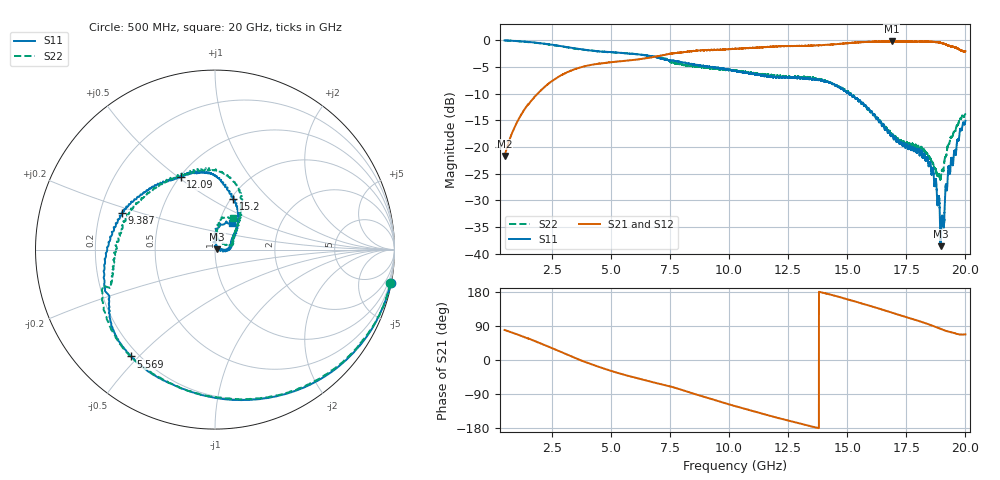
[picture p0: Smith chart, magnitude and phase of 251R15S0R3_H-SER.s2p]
!{251R15S0R3}
!Johanson Technology Inc.
!www.johansontechnology.com
!Test Board Conditions:
!Substrate Type  RO4350B
!Substrate Thickness  20 mil
!Substrate Dk  3.66
!TL Type: GCPW
!TL Trace Width  34 mil
!TL Gap  10 mil
!Electrode orientation  Horizontal
!DUT TOPOLOGY	SERIES
!Mounting Pad LxW  26x52 mil
! Created Thu Mar 12 16:25:58 2020
# mhz S ma R 50
! 2 Port Network Data from SP1.SP block
! freq  magS11  angS11  magS21  angS21  magS12  angS12  magS22  angS22
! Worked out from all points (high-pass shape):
!   19501 points, 500 MHz to 20 GHz, reference 50 ohm
!   highest |S21| = -0.17 dB at 16.88 GHz (marker M1); lowest = -21.7 dB at 500 MHz (marker M2)
!   |S21| within 3 dB of the highest: 6.732103 GHz to 6.733521 GHz (1.418 MHz wide, 0.0211 % of centre); 6.742 GHz to end of sweep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
!   lowest |S11| = -38.6 dB at 18.95 GHz (marker M3), VSWR 1.02, Z = 51.2 + j0.267 ohm
!   |S11| at or under -10 dB: 15.07493 GHz to 15.07509 GHz (160.4 kHz wide, 0.00106 % of centre); 15.08 GHz to end of sweep
!   |S22| runs from -26.2 to 0.0 dB; largest |S21 - S12| = 0.021
!   S11 on the Smith chart (normalised r, x): 500 MHz: 0, -11; 5.569 GHz: 0.17, -0.48; 9.387 GHz: 0.29, +0.17; 12.09 GHz: 0.51, +0.51; 15.2 GHz: 1.02, +0.64; 20 GHz: 1.15, +0.35
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500  0.9966 -10.8  0.08227 79.1  0.08259 79.3  0.9954 -10.8
1060  0.9834 -23.2  0.1765 67.0  0.1769 66.8  0.9829 -23.3
1749  0.9557 -39.7  0.2914 50.7  0.2926 50.9  0.9523 -39.3
2752  0.8916 -65.2  0.4505 24.9  0.451 24.8  0.8879 -64.6
3750  0.8235 -90.8  0.5614 -1.4  0.5608 -1.3  0.8206 -90.8
5569  0.7566 -128.1  0.6421 -39.1  0.641 -39.0  0.7587 -128.4
7000  0.6894 -149.0  0.7107 -62.1  0.7123 -62.0  0.6971 -153.8
8294  0.6073 -178.4  0.7829 -84.8  0.7855 -84.5  0.5787 -168.8
9387  0.557 158.5  0.817 -105.6  0.8212 -105.9  0.5445 172.9
10250  0.5154 144.5  0.8351 -121.6  0.8352 -121.8  0.5202 156.7
12093  0.447 115.2  0.8759 -153.3  0.875 -153.6  0.4596 121.5
13500  0.4294 97.1  0.8928 -175.5  0.8874 -175.5  0.4412 90.4
15203  0.3011 70.6  0.9463 156.5  0.9406 156.7  0.3041 61.7
16750  0.1381 35.0  0.9773 127.7  0.9756 127.7  0.1437 38.9
16884  0.1295 32.7  0.9805 125.1  0.9751 125.2  0.1357 36.6
18440  0.06755 -2.2  0.9711 94.4  0.9696 93.7  0.08178 15.7
18695  0.04407 -9.9  0.9658 88.5  0.9612 88.1  0.06311 23.1
18951  0.01177 12.8  0.948 82.1  0.9469 82.1  0.05055 56.0
19029  0.02166 63.6  0.9404 80.4  0.9334 80.2  0.0612 75.7
19221  0.04018 92.9  0.9026 76.1  0.9007 75.9  0.09295 84.5
19344  0.05675 89.0  0.8835 74.0  0.8801 74.1  0.1151 82.7
20000  0.176 57.0  0.788 67.6  0.788 67.3  0.2037 61.2
